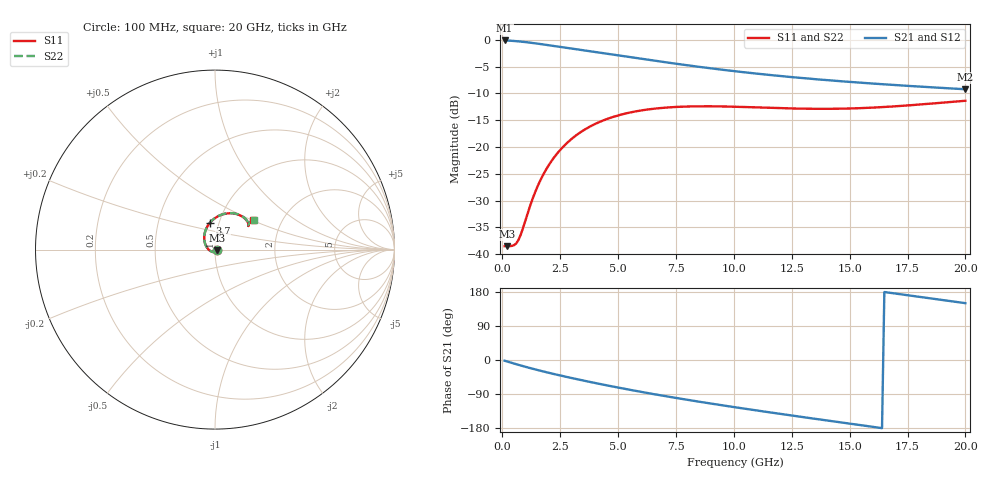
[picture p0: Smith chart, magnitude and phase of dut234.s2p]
! Touchstone file exported from HFSS 2024.1.0
!  File:  C:/UserFiles/LocalFiles/RDL_TSV_Batchsim/temp_RDL_TSV_234_1779452483.aedt
!  Generated:  08:32:37 PM May 22, 2026
!  Design:  RDL_TSV
!  Project:  temp_RDL_TSV_234_1779452483
!  Setup:  Setup1
!  Solution:  Sweep
! Variables:
!  dtsv = 14.2um
!  hbump = 3um
!  htsv = 60.72um
!  ldown = 331.03um
!  lrdl = 540.98um
!  p = 40
!  p1 = 48.46um
!  rhole = 10um
!  subl = 3157.01um
!  t = 450um
!  tdown = 4.72um
!  trdl = 3.85um
!  viad = 10um
!  wdown = 18.95um
!  wrdl = 27.2um
!  xbump = 18um
# GHz S MA R 50.000000
! Terminal data exported
! Port[1] = TM1_1_T1
! Port[2] = TM1_4_T1
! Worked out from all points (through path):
!   200 points, 100 MHz to 20 GHz, reference 50 ohm
!   highest |S21| = -0.11 dB at 100 MHz (marker M1); lowest = -9.2 dB at 20 GHz (marker M2)
!   group delay of S21, straight-line fit = 27.6 ps
!   lowest |S11| = -38.5 dB at 200 MHz (marker M3), VSWR 1.02, Z = 51.1 - j0.36 ohm
!   |S11| at or under -10 dB: start of sweep to end of sweep
!   |S22| runs from -38.5 to -11.3 dB; largest |S21 - S12| = 3.7e-14
!   S11 on the Smith chart (normalised r, x): 100 MHz: 1.02, -0.00; 3.7 GHz: 0.90, +0.28; 20 GHz: 1.44, +0.51
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0.1  0.01189 -8.2  0.9875 -1.9  0.9875 -1.9  0.01189 -8.2
! Gamma 0 0 0 0
! Port Impedance 50 0 50 0
0.2  0.01189 -17.2  0.9856 -3.8  0.9856 -3.8  0.01194 -17.5
0.5  0.01213 -56.5  0.9767 -9.3  0.9767 -9.3  0.01206 -58.4
0.7  0.0136 -94.2  0.9687 -12.8  0.9687 -12.8  0.01337 -96.1
0.8  0.01528 -113.1  0.9641 -14.6  0.9641 -14.6  0.01502 -114.7
1.3  0.03251 -175.1  0.9363 -22.9  0.9363 -22.9  0.03238 -175.3
1.5  0.04179 171.0  0.9239 -26.1  0.9239 -26.1  0.04177 170.9
1.8  0.05689 155.2  0.9047 -30.7  0.9047 -30.7  0.057 155.1
2.1  0.07269 142.9  0.8853 -35.2  0.8853 -35.2  0.0729 142.8
2.7  0.1043 123.8  0.8475 -43.6  0.8475 -43.6  0.1047 123.8
3.5  0.143 104.9  0.7995 -54.2  0.7995 -54.2  0.1435 104.9
3.7  0.1516 100.9  0.788 -56.8  0.788 -56.8  0.1522 100.9
4.4  0.1785 88.5  0.7487 -65.5  0.7487 -65.5  0.1792 88.5
5.1  0.1999 78.2  0.7113 -73.9  0.7113 -73.9  0.2007 78.2
6.8  0.2308 59.3  0.6289 -92.8  0.6289 -92.8  0.2319 59.4
8.4  0.2398 47.5  0.5639 -109.1  0.5639 -109.1  0.2411 47.5
10.1  0.2376 39.7  0.5083 -125.1  0.5083 -125.1  0.239 39.7
11.7  0.2317 36.0  0.4669 -139.5  0.4669 -139.5  0.2331 36.1
13.4  0.2274 35.2  0.4319 -154.3  0.4319 -154.3  0.2289 35.2
15  0.2289 36.1  0.4054 -167.9  0.4054 -167.9  0.2305 36.0
16.7  0.2379 37.5  0.3821 177.7  0.3821 177.7  0.2394 37.4
20  0.2703 37.7  0.3462 150.0  0.3462 150.0  0.272 37.6
